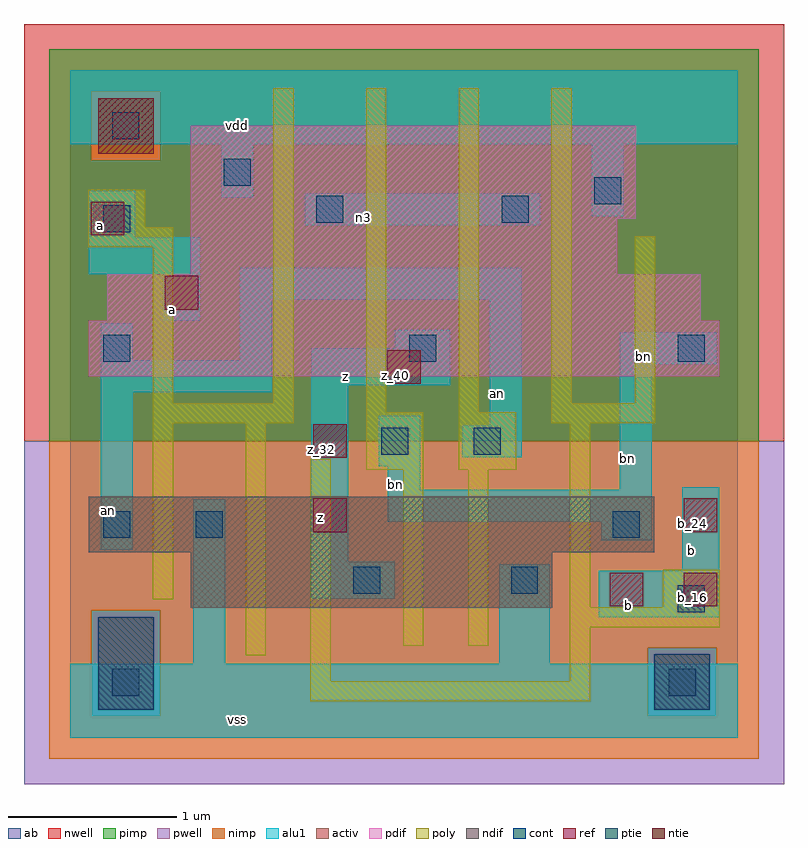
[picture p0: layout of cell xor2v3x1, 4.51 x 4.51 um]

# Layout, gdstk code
import gdstk
lib = gdstk.Library(unit=1e-6, precision=2.5e-09)
def R(c, l, rs):  # rectangles x0, y0, x1, y1
    for r in rs: c.add(gdstk.rectangle(r[:2], r[2:], *l))
ndif = (3, 0)
pdif = (4, 0)
ntie = (5, 0)
ptie = (6, 0)
ref = (24, 0)
cont = (25, 0)
pwell = (41, 0)
nwell = (42, 0)
activ = (43, 0)
pimp = (44, 0)
nimp = (45, 0)
poly = (46, 0)
alu1 = (49, 0)
ab = (63, 0)

xor2v3x1 = lib.new_cell('xor2v3x1')
R(xor2v3x1, ndif, [(0.715,0.77,2.86,1.1), (0.11,1.1,3.465,1.43)])
R(xor2v3x1, pdif, [(0.11,2.145,3.85,2.475), (0.22,2.475,3.74,2.75), (0.715,2.75,3.245,3.08), (0.715,3.08,3.355,3.63)])
R(xor2v3x1, ntie, [(0.165,3.465,0.495,3.795)])
R(xor2v3x1, ptie, [(0.165,0.165,0.495,0.715), (3.465,0.165,3.795,0.495)])
R(xor2v3x1, ref, [(3.2,0.78,3.4,0.98), (3.64,0.78,3.84,0.98), (1.44,1.22,1.64,1.42), (3.64,1.22,3.84,1.42), (1.44,1.66,1.64,1.86), (1.88,2.1,2.08,2.3), (0.56,2.54,0.76,2.74), (0.12,2.98,0.32,3.18)])
R(xor2v3x1, cont, [(0.25,0.25,0.41,0.41), (3.55,0.25,3.71,0.41), (3.605,0.745,3.765,0.905), (1.68,0.855,1.84,1.015), (2.615,0.855,2.775,1.015), (0.195,1.185,0.355,1.345), (0.745,1.185,0.905,1.345), (3.22,1.185,3.38,1.345), (1.845,1.68,2.005,1.84), (2.395,1.68,2.555,1.84), (0.195,2.23,0.355,2.39), (2.01,2.23,2.17,2.39), (3.605,2.23,3.765,2.39), (0.195,3,0.355,3.16), (1.46,3.055,1.62,3.215), (2.56,3.055,2.72,3.215), (3.11,3.165,3.27,3.325), (0.91,3.275,1.07,3.435), (0.25,3.55,0.41,3.71)])
R(xor2v3x1, pwell, [(-0.275,-0.275,4.235,1.76)])
R(xor2v3x1, nwell, [(-0.275,1.76,4.235,4.235)])
R(xor2v3x1, activ, [(0.165,0.165,0.495,0.715), (3.465,0.165,3.795,0.495), (0.715,0.77,2.86,1.1), (0.11,1.1,3.465,1.43), (0.11,2.145,3.85,2.475), (0.22,2.475,3.74,2.75), (0.715,2.75,3.245,3.08), (0.715,3.08,3.355,3.63), (0.165,3.465,0.495,3.795)])
R(xor2v3x1, pimp, [(0.125,0.125,0.535,0.755), (3.425,0.125,3.835,0.535), (-0.125,1.76,4.085,3.425), (-0.125,3.425,0.125,3.835), (0.535,3.425,4.085,3.835), (-0.125,3.835,4.085,4.085)])
R(xor2v3x1, nimp, [(-0.125,-0.125,4.085,0.125), (-0.125,0.125,0.125,0.755), (0.535,0.125,3.425,0.535), (3.835,0.125,4.085,0.535), (0.535,0.535,4.085,0.755), (-0.125,0.755,4.085,1.76), (0.125,3.425,0.535,3.835)])
R(xor2v3x1, poly, [(1.425,0.215,3.085,0.335), (1.425,0.335,1.545,1.655), (2.965,0.335,3.085,0.655), (1.04,0.49,1.16,1.865), (1.975,0.545,2.095,1.59), (2.36,0.545,2.48,1.59), (2.965,0.655,3.855,0.775), (2.965,0.775,3.085,1.865), (3.515,0.775,3.855,0.995), (0.49,0.82,0.61,1.865), (1.755,1.59,2.095,1.93), (2.305,1.59,2.645,1.93), (0.49,1.865,1.325,1.985), (2.855,1.865,3.47,1.985), (1.755,1.93,1.875,3.855), (2.305,1.93,2.425,3.855), (0.49,1.985,0.61,2.91), (1.205,1.985,1.325,3.855), (2.855,1.985,2.975,3.855), (3.35,1.985,3.47,2.975), (0.105,2.91,0.61,3.03), (0.105,3.03,0.445,3.25)])
R(xor2v3x1, alu1, [(0,0,3.96,0.44), (0.73,0.44,0.92,1.415), (2.545,0.44,2.845,1.03), (3.135,0.715,3.85,0.99), (1.43,0.825,1.925,1.045), (3.63,0.99,3.85,1.485), (1.43,1.045,1.65,2.09), (0.18,1.115,0.37,2.05), (3.15,1.17,3.45,1.28), (1.885,1.28,3.45,1.47), (1.885,1.47,2.075,1.61), (3.26,1.47,3.45,2.215), (1.83,1.61,2.075,1.91), (2.325,1.665,2.68,1.855), (2.49,1.855,2.68,2.6), (0.18,2.05,1.195,2.24), (1.43,2.09,2.255,2.31), (3.26,2.215,3.835,2.405), (0.18,2.24,0.37,2.46), (1.005,2.24,1.195,2.6), (1.925,2.31,2.255,2.42), (0.55,2.475,0.77,2.75), (1.005,2.6,2.68,2.79), (0.11,2.75,0.77,2.97), (0.11,2.97,0.385,3.245), (1.39,3.04,2.79,3.23), (3.095,3.095,3.285,3.52), (0.895,3.205,1.085,3.52), (0,3.52,3.96,3.96)])
R(xor2v3x1, ab, [(0,0,3.96,3.96)])
xor2v3x1.add(gdstk.Label('vss', (0.99,0.11), layer=49, texttype=0))
xor2v3x1.add(gdstk.Label('b', (3.3125,0.7825), layer=49, texttype=0))
xor2v3x1.add(gdstk.Label('b', (3.685,1.1125), layer=49, texttype=0))
xor2v3x1.add(gdstk.Label('bn', (3.3075,1.655), layer=49, texttype=0))
xor2v3x1.add(gdstk.Label('bn', (1.9325,1.505), layer=49, texttype=0))
xor2v3x1.add(gdstk.Label('bn', (3.4025,2.2625), layer=49, texttype=0))
xor2v3x1.add(gdstk.Label('an', (2.5375,2.04), layer=49, texttype=0))
xor2v3x1.add(gdstk.Label('z', (1.485,1.305), layer=49, texttype=0))
xor2v3x1.add(gdstk.Label('an', (0.2275,1.3475), layer=49, texttype=0))
xor2v3x1.add(gdstk.Label('z', (1.635,2.145), layer=49, texttype=0))
xor2v3x1.add(gdstk.Label('a', (0.605,2.5425), layer=49, texttype=0))
xor2v3x1.add(gdstk.Label('n3', (1.74,3.0875), layer=49, texttype=0))
xor2v3x1.add(gdstk.Label('a', (0.1775,3.0375), layer=49, texttype=0))
xor2v3x1.add(gdstk.Label('vdd', (0.99,3.63), layer=49, texttype=0))
xor2v3x1.add(gdstk.Label('a_48', (0.61,2.59), layer=24, texttype=0))
xor2v3x1.add(gdstk.Label('a_56', (0.17,3.03), layer=24, texttype=0))
xor2v3x1.add(gdstk.Label('z_32', (1.49,1.71), layer=24, texttype=0))
xor2v3x1.add(gdstk.Label('z_24', (1.49,1.27), layer=24, texttype=0))
xor2v3x1.add(gdstk.Label('z_40', (1.93,2.15), layer=24, texttype=0))
xor2v3x1.add(gdstk.Label('b_24', (3.69,1.27), layer=24, texttype=0))
xor2v3x1.add(gdstk.Label('b_16', (3.69,0.83), layer=24, texttype=0))
xor2v3x1.add(gdstk.Label('b_16', (3.25,0.83), layer=24, texttype=0))

lib.write_gds('xor2v3x1.gds')
